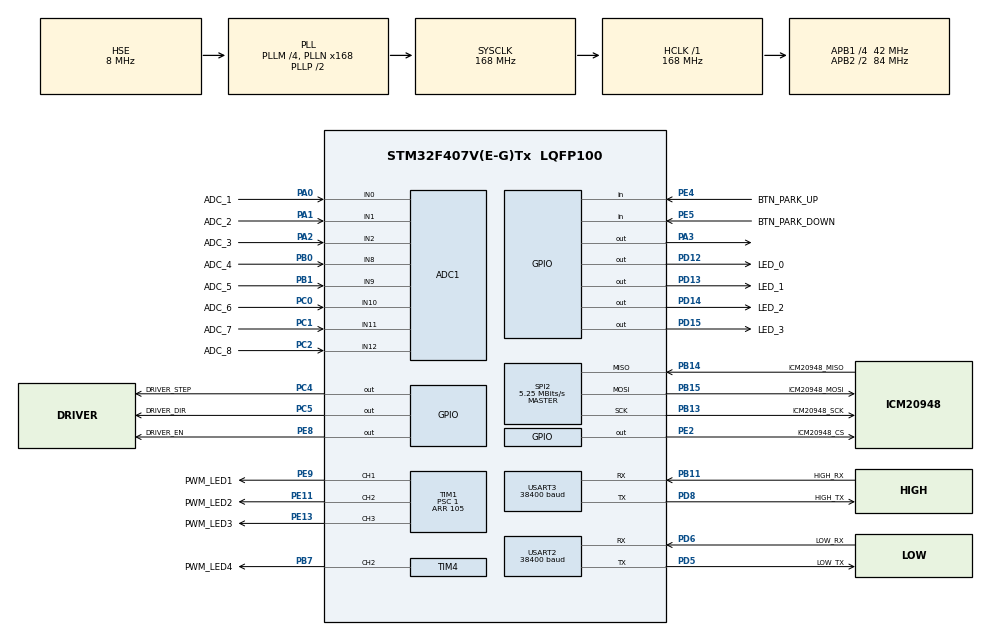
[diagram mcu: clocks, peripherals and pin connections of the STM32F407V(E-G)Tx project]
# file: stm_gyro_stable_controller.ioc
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ADC1.Channel-1\#ChannelRegularConversion=ADC_CHANNEL_8
ADC1.NbrOfConversionFlag=1
ADC1.Rank-1\#ChannelRegularConversion=1
ADC1.SamplingTime-1\#ChannelRegularConversion=ADC_SAMPLETIME_3CYCLES
ADC1.master=1
Dma.Request0=USART2_RX
Dma.Request1=USART2_TX
Dma.Request2=USART3_RX
Dma.Request3=USART3_TX
Dma.Request4=TIM1_CH2
Dma.Request5=TIM1_CH1
Dma.Request6=TIM1_CH3
Dma.Request7=TIM4_CH2
Dma.TIM1_CH1.5.Direction=DMA_MEMORY_TO_PERIPH
Dma.TIM1_CH1.5.FIFOMode=DMA_FIFOMODE_DISABLE
Dma.TIM1_CH1.5.Instance=DMA2_Stream1
Dma.TIM1_CH1.5.MemDataAlignment=DMA_MDATAALIGN_WORD
Dma.TIM1_CH1.5.MemInc=DMA_MINC_ENABLE
Dma.TIM1_CH1.5.Mode=DMA_CIRCULAR
Dma.TIM1_CH1.5.PeriphDataAlignment=DMA_PDATAALIGN_WORD
Dma.TIM1_CH1.5.PeriphInc=DMA_PINC_DISABLE
Dma.TIM1_CH1.5.Priority=DMA_PRIORITY_LOW
Dma.TIM1_CH2.4.Direction=DMA_MEMORY_TO_PERIPH
Dma.TIM1_CH2.4.FIFOMode=DMA_FIFOMODE_DISABLE
Dma.TIM1_CH2.4.Instance=DMA2_Stream2
Dma.TIM1_CH2.4.MemDataAlignment=DMA_MDATAALIGN_WORD
Dma.TIM1_CH2.4.MemInc=DMA_MINC_ENABLE
Dma.TIM1_CH2.4.Mode=DMA_CIRCULAR
Dma.TIM1_CH2.4.PeriphDataAlignment=DMA_PDATAALIGN_WORD
Dma.TIM1_CH2.4.PeriphInc=DMA_PINC_DISABLE
Dma.TIM1_CH2.4.Priority=DMA_PRIORITY_LOW
Dma.TIM1_CH3.6.Direction=DMA_MEMORY_TO_PERIPH
Dma.TIM1_CH3.6.FIFOMode=DMA_FIFOMODE_DISABLE
Dma.TIM1_CH3.6.Instance=DMA2_Stream6
Dma.TIM1_CH3.6.MemDataAlignment=DMA_MDATAALIGN_WORD
Dma.TIM1_CH3.6.MemInc=DMA_MINC_ENABLE
Dma.TIM1_CH3.6.Mode=DMA_CIRCULAR
Dma.TIM1_CH3.6.PeriphDataAlignment=DMA_PDATAALIGN_WORD
Dma.TIM1_CH3.6.PeriphInc=DMA_PINC_DISABLE
Dma.TIM1_CH3.6.Priority=DMA_PRIORITY_LOW
Dma.TIM4_CH2.7.Direction=DMA_MEMORY_TO_PERIPH
Dma.TIM4_CH2.7.FIFOMode=DMA_FIFOMODE_DISABLE
Dma.TIM4_CH2.7.Instance=DMA1_Stream3
Dma.TIM4_CH2.7.MemDataAlignment=DMA_MDATAALIGN_WORD
Dma.TIM4_CH2.7.MemInc=DMA_MINC_ENABLE
Dma.TIM4_CH2.7.Mode=DMA_CIRCULAR
Dma.TIM4_CH2.7.PeriphDataAlignment=DMA_PDATAALIGN_WORD
Dma.TIM4_CH2.7.PeriphInc=DMA_PINC_DISABLE
Dma.TIM4_CH2.7.Priority=DMA_PRIORITY_LOW
Dma.USART2_RX.0.Direction=DMA_PERIPH_TO_MEMORY
Dma.USART2_RX.0.FIFOMode=DMA_FIFOMODE_DISABLE
Dma.USART2_RX.0.Instance=DMA1_Stream5
Dma.USART2_RX.0.MemDataAlignment=DMA_MDATAALIGN_BYTE
Dma.USART2_RX.0.MemInc=DMA_MINC_ENABLE
Dma.USART2_RX.0.Mode=DMA_NORMAL
Dma.USART2_RX.0.PeriphDataAlignment=DMA_PDATAALIGN_BYTE
Dma.USART2_RX.0.PeriphInc=DMA_PINC_DISABLE
Dma.USART2_RX.0.Priority=DMA_PRIORITY_HIGH
Dma.USART2_TX.1.Direction=DMA_MEMORY_TO_PERIPH
Dma.USART2_TX.1.FIFOMode=DMA_FIFOMODE_DISABLE
Dma.USART2_TX.1.Instance=DMA1_Stream6
Dma.USART2_TX.1.MemDataAlignment=DMA_MDATAALIGN_BYTE
Dma.USART2_TX.1.MemInc=DMA_MINC_ENABLE
Dma.USART2_TX.1.Mode=DMA_NORMAL
Dma.USART2_TX.1.PeriphDataAlignment=DMA_PDATAALIGN_BYTE
Dma.USART2_TX.1.PeriphInc=DMA_PINC_DISABLE
Dma.USART2_TX.1.Priority=DMA_PRIORITY_HIGH
Dma.USART3_RX.2.Direction=DMA_PERIPH_TO_MEMORY
Dma.USART3_RX.2.FIFOMode=DMA_FIFOMODE_DISABLE
Dma.USART3_RX.2.Instance=DMA1_Stream1
Dma.USART3_RX.2.MemDataAlignment=DMA_MDATAALIGN_BYTE
Dma.USART3_RX.2.MemInc=DMA_MINC_ENABLE
Dma.USART3_RX.2.Mode=DMA_NORMAL
Dma.USART3_RX.2.PeriphDataAlignment=DMA_PDATAALIGN_BYTE
Dma.USART3_RX.2.PeriphInc=DMA_PINC_DISABLE
Dma.USART3_RX.2.Priority=DMA_PRIORITY_LOW
Dma.USART3_TX.3.Direction=DMA_MEMORY_TO_PERIPH
Dma.USART3_TX.3.FIFOMode=DMA_FIFOMODE_DISABLE
Dma.USART3_TX.3.Instance=DMA1_Stream4
Dma.USART3_TX.3.MemDataAlignment=DMA_MDATAALIGN_BYTE
Dma.USART3_TX.3.MemInc=DMA_MINC_ENABLE
Dma.USART3_TX.3.Mode=DMA_NORMAL
Dma.USART3_TX.3.PeriphDataAlignment=DMA_PDATAALIGN_BYTE
Dma.USART3_TX.3.PeriphInc=DMA_PINC_DISABLE
Dma.USART3_TX.3.Priority=DMA_PRIORITY_LOW
Mcu.Family=STM32F4
Mcu.Name=STM32F407V(E-G)Tx
Mcu.Package=LQFP100
NVIC.DMA1_Stream1_IRQn=true\:0\:0\:false\:false\:true\:false\:true
NVIC.DMA1_Stream3_IRQn=true\:0\:0\:false\:false\:true\:false\:true
NVIC.DMA1_Stream4_IRQn=true\:0\:0\:false\:false\:true\:false\:true
NVIC.DMA1_Stream5_IRQn=true\:0\:0\:false\:false\:true\:false\:true
NVIC.DMA1_Stream6_IRQn=true\:0\:0\:false\:false\:true\:false\:true
NVIC.DMA2_Stream1_IRQn=true\:0\:0\:false\:false\:true\:false\:true
NVIC.DMA2_Stream2_IRQn=true\:0\:0\:false\:false\:true\:false\:true
NVIC.DMA2_Stream6_IRQn=true\:0\:0\:false\:false\:true\:false\:true
NVIC.PriorityGroup=NVIC_PRIORITYGROUP_4
NVIC.USART2_IRQn=true\:0\:0\:false\:false\:true\:true\:true
NVIC.USART3_IRQn=true\:0\:0\:false\:false\:true\:true\:true
PA0-WKUP.GPIO_Label=ADC_1
PA0-WKUP.Signal=ADCx_IN0
PA1.GPIO_Label=ADC_2
PA1.Signal=ADCx_IN1
PA13.Mode=Serial_Wire
PA13.Signal=SYS_JTMS-SWDIO
PA14.Mode=Serial_Wire
PA14.Signal=SYS_JTCK-SWCLK
PA2.GPIO_Label=ADC_3
PA2.Signal=ADCx_IN2
PA3.Signal=GPIO_Output
PB0.GPIO_Label=ADC_4
PB0.Signal=ADCx_IN8
PB1.GPIO_Label=ADC_5
PB1.Signal=ADCx_IN9
PB11.GPIO_Label=HIGH_RX
PB11.Mode=Asynchronous
PB11.Signal=USART3_RX
PB13.GPIO_Label=ICM20948_SCK
PB13.Mode=Full_Duplex_Master
PB13.Signal=SPI2_SCK
PB14.GPIO_Label=ICM20948_MISO
PB14.Mode=Full_Duplex_Master
PB14.Signal=SPI2_MISO
PB15.GPIO_Label=ICM20948_MOSI
PB15.Mode=Full_Duplex_Master
PB15.Signal=SPI2_MOSI
PB7.GPIO_Label=PWM_LED4
PB7.Signal=S_TIM4_CH2
PC0.GPIO_Label=ADC_6
PC0.Signal=ADCx_IN10
PC1.GPIO_Label=ADC_7
PC1.Signal=ADCx_IN11
PC14-OSC32_IN.Mode=LSE-External-Oscillator
PC14-OSC32_IN.Signal=RCC_OSC32_IN
PC15-OSC32_OUT.Mode=LSE-External-Oscillator
PC15-OSC32_OUT.Signal=RCC_OSC32_OUT
PC2.GPIO_Label=ADC_8
PC2.Signal=ADCx_IN12
PC4.GPIO_Label=DRIVER_STEP
PC4.Signal=GPIO_Output
PC5.GPIO_Label=DRIVER_DIR
PC5.Signal=GPIO_Output
PD12.GPIO_Label=LED_0
PD12.Signal=GPIO_Output
PD13.GPIO_Label=LED_1
PD13.Signal=GPIO_Output
PD14.GPIO_Label=LED_2
PD14.Signal=GPIO_Output
PD15.GPIO_Label=LED_3
PD15.Signal=GPIO_Output
PD5.GPIO_Label=LOW_TX
PD5.Mode=Asynchronous
PD5.Signal=USART2_TX
PD6.GPIO_Label=LOW_RX
PD6.Mode=Asynchronous
PD6.Signal=USART2_RX
PD8.GPIO_Label=HIGH_TX
PD8.Mode=Asynchronous
PD8.Signal=USART3_TX
PE11.GPIO_Label=PWM_LED2
PE11.Signal=S_TIM1_CH2
PE13.GPIO_Label=PWM_LED3
PE13.Signal=S_TIM1_CH3
PE2.GPIO_Label=ICM20948_CS
PE2.Signal=GPIO_Output
PE4.GPIO_Label=BTN_PARK_UP
PE4.GPIO_PuPd=GPIO_PULLDOWN
PE4.Signal=GPIO_Input
PE5.GPIO_Label=BTN_PARK_DOWN
PE5.GPIO_PuPd=GPIO_PULLDOWN
PE5.Signal=GPIO_Input
PE8.GPIO_Label=DRIVER_EN
PE8.GPIO_PuPd=GPIO_NOPULL
PE8.Signal=GPIO_Output
PE9.GPIO_Label=PWM_LED1
PE9.Signal=S_TIM1_CH1
PH0-OSC_IN.Mode=HSE-External-Oscillator
PH0-OSC_IN.Signal=RCC_OSC_IN
PH1-OSC_OUT.Mode=HSE-External-Oscillator
PH1-OSC_OUT.Signal=RCC_OSC_OUT
ProjectManager.HeapSize=0x200
ProjectManager.StackSize=0x400
ProjectManager.TargetToolchain=STM32CubeIDE
RCC.48MHZClocksFreq_Value=84000000
RCC.AHBFreq_Value=168000000
RCC.APB1CLKDivider=RCC_HCLK_DIV4
RCC.APB1Freq_Value=42000000
RCC.APB1TimFreq_Value=84000000
RCC.APB2CLKDivider=RCC_HCLK_DIV2
RCC.APB2Freq_Value=84000000
RCC.APB2TimFreq_Value=168000000
RCC.CortexFreq_Value=168000000
RCC.HCLKFreq_Value=168000000
RCC.HSE_VALUE=8000000
RCC.HSI_VALUE=16000000
RCC.PLLM=4
RCC.PLLN=168
RCC.PLLSourceVirtual=RCC_PLLSOURCE_HSE
RCC.SYSCLKFreq_VALUE=168000000
RCC.SYSCLKSource=RCC_SYSCLKSOURCE_PLLCLK
RCC.VCOOutputFreq_Value=336000000
SH.ADCx_IN0.0=ADC1_IN0,IN0
SH.ADCx_IN1.0=ADC1_IN1,IN1
SH.ADCx_IN10.0=ADC1_IN10,IN10
SH.ADCx_IN11.0=ADC1_IN11,IN11
SH.ADCx_IN12.0=ADC1_IN12,IN12
SH.ADCx_IN2.0=ADC1_IN2,IN2
SH.ADCx_IN8.0=ADC1_IN8,IN8
SH.ADCx_IN9.0=ADC1_IN9,IN9
SH.S_TIM1_CH1.0=TIM1_CH1,PWM Generation1 CH1
SH.S_TIM1_CH2.0=TIM1_CH2,PWM Generation2 CH2
SH.S_TIM1_CH3.0=TIM1_CH3,PWM Generation3 CH3
SH.S_TIM4_CH2.0=TIM4_CH2,PWM Generation2 CH2
SPI2.BaudRatePrescaler=SPI_BAUDRATEPRESCALER_8
SPI2.CLKPhase=SPI_PHASE_2EDGE
SPI2.CLKPolarity=SPI_POLARITY_HIGH
SPI2.CalculateBaudRate=5.25 MBits/s
SPI2.Direction=SPI_DIRECTION_2LINES
SPI2.Mode=SPI_MODE_MASTER
SPI2.VirtualType=VM_MASTER
TIM1.Channel-PWM\ Generation1\ CH1=TIM_CHANNEL_1
TIM1.Channel-PWM\ Generation2\ CH2=TIM_CHANNEL_2
TIM1.Channel-PWM\ Generation3\ CH3=TIM_CHANNEL_3
TIM1.Period=105
TIM1.Prescaler=1
TIM4.Channel-PWM\ Generation2\ CH2=TIM_CHANNEL_2
TIM4.Period=105
TIM8.Prescaler=167
USART2.BaudRate=38400
USART2.VirtualMode=VM_ASYNC
USART3.BaudRate=38400
USART3.VirtualMode=VM_ASYNC
VP_TIM1_VS_ClockSourceINT.Mode=Internal
VP_TIM4_VS_ClockSourceINT.Mode=Internal
VP_TIM8_VS_ClockSourceINT.Mode=Internal
board=custom

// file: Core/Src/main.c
/* USER CODE BEGIN Header */
/**
  ******************************************************************************
  * @file           : main.c
  * @brief          : Main program body
  ******************************************************************************
  * @attention
  *
  * 					<h2><center>RTK-WOLVES</center></h2>
  *
  *
  * 								Created by
  * 						@Lord_tachanka @th3d0l0rh3z3
  *                        			  AT 2021
  *
  ******************************************************************************
  */
/* USER CODE END Header */
#include "main.h"
#include "adc.h"
#include "dma.h"
#include "spi.h"
#include "tim.h"
#include "usart.h"
#include "gpio.h"

/* USER CODE BEGIN Includes */
#include "icm20948.h"	// Драйвер для гироскопа (самопис.)
#include "Fusion.h"		// Библиотека преобразований данных гироскопа (самопис.)
#include "stdlib.h"
/* USER CODE END Includes */

/* USER CODE BEGIN PTD */
#pragma pack(push, 1)
#define WHEELS_REQUEST_SIZE 16 				// Размер пакета
union {
    struct
    {
        uint8_t ControlMode;				// 1 - Режим управления(не используется)
        uint8_t ParameterNumber;			// 1 - Номер параметра(не используется)
        float ParameterValue;				// 4 - Значение параметра(не используется)
        float WheelLeft;					// 4 - Ш�?М левое колесо, от -1 до 1
        float WheelRight;					// 4 - Ш�?М правое колесо, от -1 до 1
        uint8_t CR;							// 1 - Байт синхронизации
        uint8_t LF;							// 1 - Байт синхронизации
    };
    uint8_t Buffer[WHEELS_REQUEST_SIZE];	// Буффер байт
} SerialControlWheelsRequest;				// Пакет для отправки на плату гироскутера

#define WHEELS_RESPONCE_SIZE 16				// Размер пакета
union {
    struct
    {
        uint8_t State;						// 1 - Код статуса
        uint8_t ParameterNumber;			// 1 - Номер параметра
        float ParameterValue;				// 4 - Значение параметра
        int32_t WheelLeftSteps;				// 4 - Положение по датчикам холла, левое колесо
        int32_t WheelRightSteps;			// 4 - Положение по датчикам холла, правое колесо
        uint8_t CR;							// 1 - Байт синхронизации
        uint8_t LF;							// 1 - Байт синхронизации
    };
    uint8_t Buffer[WHEELS_RESPONCE_SIZE];	// Буффер байт
} SerialControlWheelsResponce;				// Пакет приема ответного сообщения с платы гироскутера

#define HIGH_LEVEL_REQUEST_SIZE 16				// Размер пакета
union {
	struct
	{
		float Linear;			 				// 4 - Линейная скорость
		float Angular;							// 4 - Угловая скорость
		int8_t DriveMode;						// 1 - Режим движения
		uint8_t ParameterNumber;				// 1 - �?ндекс параметров
		float ParametrValue;					// 4 - Значние параметра
		uint8_t CR;								// 1 - Байт синхронизации
		uint8_t LF;								// 1 - Байт синхронизации
	};
	uint8_t Buffer[HIGH_LEVEL_REQUEST_SIZE];	// Буффер байт
} SerialHighLevelRequest;						// Принимаемый пакет от вычислителя вехнего уровня

#define HIGH_LEVEL_RESPONCE_SIZE 25				// Размер пакета
union {
	struct
	{
		int8_t ControllerState;					// 1 - Статусное состояние контроллера
		int32_t WheelLeftSteps;					// 4 - Показания датчика холла, левый
		int32_t WheelRightSteps;				// 4 - Показания датчика холла, правый
		uint8_t BatteryPersentage;				// 1 - Процент заряда батареи
		int16_t Roll;							// 2 - Крен (AHRS)
		int16_t Pitch;							// 2 - Тангаж (AHRS)
		int16_t Yaw;							// 2 - Рысканье (AHRS)
		uint16_t CenterIkSensor;				// 2 - Показания �?К-дальномера
		uint8_t ParameterNumber;				// 1 - �?ндекс параметров
		float ParametrValue;					// 4 - Номер параметра
		uint8_t CR;								// 1 - Байт синхронизации
		uint8_t LF;								// 1 - Байт синхронизации
	};
	uint8_t Buffer[HIGH_LEVEL_RESPONCE_SIZE];	// Буфер байт
}SerialHighLevelResponce;						// Отправляемый в ответ пакет
#pragma pack(pop)

typedef struct
{
	int32_t LastHall;
	int32_t OutputHall;
} HallFilter;

typedef struct
{
	float Voltage;
	float Battery;
	float CurrentLeft;
	float CurrentRight;
	float RPSLeft;
	float RPSRight;
	float OverCurrCount;
	float ConnErrCount;
	float CommTime;
} LowUartData;

typedef struct
{
	uint16_t* Raw;
	uint16_t* Sensors;
	float* Amperage;
} ADCData;

typedef struct
{
	float Front;
	float Turn;
	float Drive;
} InputControl;

/* USER CODE END PTD */

/* USER CODE BEGIN PD */

//#define SYSTEM_NO_ADC_INIT
//#define SYSTEM_NO_IMU_HW_INIT

//#define SYSTEM_NO_LOW_UART_LOOP
//#define SYSTEM_NO_HIGH_UART_LOOP
//#define SYSTEM_NO_GPIO_LOOP
//#define SYSTEM_NO_ADC_LOOP

//#define DEBUG_NO_ADC_ALL
//#define DEBUG_NO_ADC_RAW
//#define DEBUG_NO_ADC_SEN
//#define DEBUG_NO_ADC_AMP

#define SYSTEM_HARDWARE_UART_LOW (&huart2)
#define SYSTEM_HARDWARE_UART_LOW_INSTANSE USART2
#define SYSTEM_HARDWARE_UART_HIGH (&huart3)
#define SYSTEM_HARDWARE_UART_HIGH_INSTANSE USART3
#define SYSTEM_HARDWARE_PARKING_LEG_UP_PORT GPIOE
#define SYSTEM_HARDWARE_PARKING_LEG_UP_PIN GPIO_PIN_5
#define SYSTEM_HARDWARE_PARKING_LEG_DOWN_PORT GPIOE
#define SYSTEM_HARDWARE_PARKING_LEG_DOWN_PIN GPIO_PIN_4
#define SYSTEM_HARDWARE_ADC (&hadc1)
#define SYSTEM_HARDWARE_ADC_IK_FL ADC_CHANNEL_11
#define SYSTEM_HARDWARE_ADC_IK_FR ADC_CHANNEL_12
#define SYSTEM_HARDWARE_ADC_IK_BL ADC_CHANNEL_1
#define SYSTEM_HARDWARE_ADC_IK_BR ADC_CHANNEL_10
#define SYSTEM_HARDWARE_ADC_IK_CN ADC_CHANNEL_2
#define SYSTEM_HARDWARE_ADC_AMP_36 ADC_CHANNEL_9
#define SYSTEM_HARDWARE_ADC_AMP_12 ADC_CHANNEL_8
#define SYSTEM_HARDWARE_ADC_AMP_5 ADC_CHANNEL_0
#define SYSTEM_HARDWARE_ADC_Channel_Count 8
#define SYSTEM_HARDWARE_STEPPER_MOTOR_STEP_PORT GPIOC
#define SYSTEM_HARDWARE_STEPPER_MOTOR_STEP_PIN GPIO_PIN_4
#define SYSTEM_HARDWARE_STEPPER_MOTOR_DIR_PORT GPIOC
#define SYSTEM_HARDWARE_STEPPER_MOTOR_DIR_PIN GPIO_PIN_5
#define SYSTEM_HARDWARE_STEPPER_MOTOR_EN_PORT GPIOE
#define SYSTEM_HARDWARE_STEPPER_MOTOR_EN_PIN GPIO_PIN_8

#define SYSTEM_TIMING_MS_UART_LOW 100
#define SYSTEM_TIMING_MS_UART_HIGH 100
#define SYSTEM_TIMING_MS_GPIO 100
#define SYSTEM_TIMING_MS_ADC 10
#define SYSTEM_TIMING_MS_IMU 10
#define SYSTEM_TIMING_MS_LOGIC 10

#define SYSTEM_HALL_FILTER_MAX 1000
#define SYSTEM_IMU_ACCEL_FILTER 0.1
#define SYSTEM_IMU_GYRO_FILTER 0.1
#define SYSTEM_IMU_MAG_FILTER 0.1

#define BALANCE_SPEED_STEPS_MAX_TIME 0.2
#define BALANCE_STEPS_TO_METERS 0.0088495575221239
#define BALANCE_PLATFORM_Y_MAX 5
#define BALANCE_DUTY_MAX_ANGULAR 0.1
#define BALANCE_DUTY_MAX_LINEAR 0.2
/*
#define SYSTEM_HARDWARE_PWM_CH1_PORT (&htim1)
#define SYSTEM_HARDWARE_PWM_CH1_CH TIM_CHANNEL_1
#define SYSTEM_HARDWARE_PWM_CH2_PORT (&htim1)
#define SYSTEM_HARDWARE_PWM_CH2_CH TIM_CHANNEL_2
#define SYSTEM_HARDWARE_PWM_CH3_PORT (&htim1)
#define SYSTEM_HARDWARE_PWM_CH3_CH TIM_CHANNEL_3
#define SYSTEM_HARDWARE_PWM_CH4_PORT (&htim4)
#define SYSTEM_HARDWARE_PWM_CH4_CH TIM_CHANNEL_2
#define SYSTEM_HARDWARE_LED1_PORT GPIOD
#define SYSTEM_HARDWARE_LED1_PIN GPIO_PIN_12
#define SYSTEM_HARDWARE_LED2_PORT GPIOD
#define SYSTEM_HARDWARE_LED2_PIN GPIO_PIN_13
#define SYSTEM_HARDWARE_LED3_PORT GPIOD
#define SYSTEM_HARDWARE_LED3_PIN GPIO_PIN_14
#define SYSTEM_HARDWARE_LED4_PORT GPIOD
#define SYSTEM_HARDWARE_LED4_PIN GPIO_PIN_15

#define SYSTEM_STATE_INIT 0

#define SYSTEM_DELAY_MS_HIGH_UART 100
#define SYSTEM_DELAY_MS_LOW_UART 100

#define WS2812_DELAY_LEN 48
*/
#define DELAY_LEN 48
#define LED_COUNT 27
#define HIGH 65
#define LOW 26
#define ARRAY_LEN DELAY_LEN+LED_COUNT*24
#define BitIsSet(reg, bit) ((reg & (1<<bit))!=0)
#define MAX_BRIGHTNESS 50
uint32_t BUF_DMA[ARRAY_LEN]={0};

uint16_t MAX_LIGHT = 128;
/*

#define MOTHERBOARD_DIFF 100

#define PARKING_SPEED_DRIVE 15
#define PARKING_SPEED_PARKING 20;

#define PARKING_MAX 1000

#define SPEED_STEPS_MAX_TIME 0.2

#define ADC_CH_COUNT 8
#define STEPPER_DRIVE_MAX 3200
*/
/* USER CODE END PD */

/* USER CODE BEGIN PV */

uint32_t LastPkgTimeUartLow = 0;
uint32_t LastPkgTimeUartHigh = 0;
volatile uint8_t UartLowReceiveState = 0; // 0 - by default; 1 - trouble by CR/LF; 10 - pkg good
volatile uint8_t UartHighReceiveState = 0; // 0 - by default; 1 - trouble by CR/LF; 10 - pkg good
uint8_t* LostByte;
HallFilter WheelsHall[2];
uint8_t InitionHall = 0;
LowUartData LowDiagnostic;

uint8_t FootButtonUp = 0;
uint8_t FootButtonDown = 0;

uint32_t LastUpdateGPIO = 0;
uint32_t LastUpdateADC = 0;
uint32_t LastUpdateIMU = 0;
uint32_t LastUpdateLogic = 0;
uint32_t LastUpdateLed = 0;

ADCData AdcModule;

axises ResGyro;
axises ResAccel;
axises ResMag;
FusionBias fusionBias;
FusionAhrs fusionAhrs;
float samplePeriod = 0.01f;
FusionVector3 gyroscopeSensitivity;
FusionVector3 accelerometerSensitivity;
FusionVector3 hardIronBias;
FusionVector3 uncalibratedGyroscope;
FusionVector3 uncalibratedAccelerometer;
FusionVector3 uncalibratedMagnetometer;
FusionEulerAngles eulerAngles;

InputControl BTControl;

uint8_t FootDone = 0;

// balance ===========
uint8_t BalanceActive;
float PositionLinearDemand;
// Prepare
float Front = 0;
float Turn = 0;
float SpeedLinear;
float LeftSpeed;
float RightSpeed;
uint8_t BalanceActiveDemand;
// CalcSpeeds
float TimeS;
unsigned long StepsLeftPreviousTime;
unsigned long StepsRightPreviousTime;
int32_t StepsLeftPrevious;
int32_t StepsRightPrevious;
float SpeedLinear;
float SpeedLinearDemand;
float PositionLinear;
//PosControl
uint8_t PositionLinearControlSwitch;
float PositionIValue;
float PositionI = 0.0;
float PositionP = 0.6;
float PositionPID;
uint32_t linearTime = 0;
float linearDeltaTimePrev = 0;
float linearIntegral = 0;
int linearIntegralerrorCoun = 0;
float linearLastError = 0;
float linearFcutDiff = 40.0f;
float linearSmoothDiff = 0;
float minLinearValue = 0.05;
float SpeedPID;
float SpeedPNew = 9;
float SpeedINew = 1.5;
float SpeedDNew = 0.7;
float PlatformYDemand = 0;
float SpeedFilter = 0.015;
float AngleCorrection = 3;
float BalanceP = 100;
float BalanceD = 15000;
float BalanceFilter = 0.99;
float BalancePID;
float GyroY;
float GyroYPrevious;
float GyroYSpeed;
float GyroZPrevious;
float GyroZSpeed;
float DutyFront;
float DutyTurn;
float ParkingAngle;
float ResultLeft;
float ResultRight;
float PositionAngularDemand;
float RotationPID;
float RotationP = 0.004;
float RotationI = 0;
float RotationD = 0.01;

float ManualDrive = 0;

//debug
#ifndef DEBUG_NO_ADC_ALL
#ifndef DEBUG_NO_ADC_RAW
uint16_t DebugADCRawFL;
uint16_t DebugADCRawFR;
uint16_t DebugADCRawBL;
uint16_t DebugADCRawBR;
uint16_t DebugADCRawCN;
uint16_t DebugADCRaw36;
uint16_t DebugADCRaw12;
uint16_t DebugADCRaw5;
#endif
#ifndef DEBUG_NO_ADC_SEN
uint16_t DebugADCSenFL;
uint16_t DebugADCSenFR;
uint16_t DebugADCSenBL;
uint16_t DebugADCSenBR;
uint16_t DebugADCSenCN;
#endif
#ifndef DEBUG_NO_ADC_AMP
float DebugADCAmp36;
float DebugADCAmp12;
float DebugADCAmp5;
#endif
#endif

axises DebugAccRaw;
axises DebugGyroRaw;
float DebugFilterAcc = 0.3;
float DebugScallerAcc = 1000;
float DebugFilterGyro = 0.4;
float DebugScallerGyro = 1000;
/*

float LeftSpeed;
float RightSpeed;

float linearIntegral = 0;

float linearFcutDiff = 40.0f;
float linearSmoothDiff = 0;

int linearIntegralerrorCoun = 0;

uint32_t CurrentStepPark = 0;

uint8_t PositionLinearControlSwitch;
uint8_t BalanceActive;
int16_t ParkingPersentage;
uint8_t FootAngleDemand;
uint8_t FootDrive;
uint8_t FootParking;

uint32_t PackageLastTimeReset_Motherboard;
uint32_t PackageLastTimeReset_OnBoardPC;
uint32_t LastUpdateIMU;
uint32_t LastUpdateLogic;
uint32_t LastUpdateADC;
uint32_t LastUpdateServo;
uint32_t LastUpdateLed;

int ControlCommandTimeoutMS = 2000;

uint8_t InititionHall = 0;
float HallLeftStepPast = 0;
float HallRightStepPast = 0;
float HallLeftStep;
float HallRightStep;

uint8_t ParameterNumber;

uint8_t BalanceActiveDemand;
uint8_t BTBalanceActive;

uint8_t debug_driver_en = 0;
uint8_t debug_direction = 0;
uint32_t debug_steps = 10;
uint32_t debug_period = 1600;
*/
/* USER CODE END PV */

void SystemClock_Config(void);
/* USER CODE BEGIN PFP */
void UartLowPrepareRaw(uint16_t Difference, int32_t* InputHall, uint8_t Count);
int HallActualize(int32_t NewStep, int32_t LastStep, int32_t Difference);
void GPIOUpdate();
float Interpolation(float Value, float Min, float Max);
void ADCInit();
void ADCUpdate();
void ADCPrepare();
uint16_t ReadAdcChanel(uint8_t Channel);
void SerialLowControlLoop();
void ImuAccelUpdate();
void ImuGyroUpdate();
void ImuMagUpdate();
void ImuInit();
void ImuUpdate();
void StepControl(uint8_t dir, uint32_t period, uint32_t steps);
void MotopStop();
void BalancePrepare();
void BalanceCalculateSpeeds();
void BalancePositionLinearControl();
void BalanceSpeedLinearControl();
void BalancePositionAngularControl();
void BalanceLoop();
void BalanceResultLoop();
void DelayUs(uint16_t);
/* USER CODE END PFP */

/* USER CODE BEGIN 0 */

void HAL_UART_RxCpltCallback(UART_HandleTypeDef *UartHandle)
{
	HAL_StatusTypeDef Res;

	if (UartHandle->Instance == SYSTEM_HARDWARE_UART_HIGH_INSTANSE)
	{
		if (UartHighReceiveState == 0)
		{
			if ((SerialHighLevelRequest.CR != 13) || (SerialHighLevelRequest.LF != 10))
			{
				Res = HAL_UART_Receive_DMA(SYSTEM_HARDWARE_UART_HIGH, LostByte, 1);
				UartHighReceiveState = 1;
			}
			else
			{
				UartHighReceiveState = 10;
				Res = HAL_UART_Receive_DMA(SYSTEM_HARDWARE_UART_HIGH, (uint8_t*)SerialHighLevelRequest.Buffer, HIGH_LEVEL_REQUEST_SIZE);
			}
		}
		else
		{
			if(UartHighReceiveState == 1)
			{
				if (LostByte[0] == 13)
				{
					UartHighReceiveState = 2;
				}
				Res = HAL_UART_Receive_DMA(SYSTEM_HARDWARE_UART_HIGH, (uint8_t*)LostByte, 1);
			}
			else
			{
				if (UartHighReceiveState == 2)
				{
					if (LostByte[0] == 10)
					{
						UartHighReceiveState = 0;
						Res = HAL_UART_Receive_DMA(SYSTEM_HARDWARE_UART_HIGH, (uint8_t*)SerialHighLevelRequest.Buffer, HIGH_LEVEL_REQUEST_SIZE);
					}
					else
					{
						UartHighReceiveState = 1;
						Res = HAL_UART_Receive_DMA(SYSTEM_HARDWARE_UART_HIGH, (uint8_t*)LostByte, 1);
					}
				}
			}
		}
		if (Res != HAL_OK)
		{
			MX_USART3_UART_Init();
			UartHighReceiveState = 0;
			Res = HAL_UART_Receive_DMA(SYSTEM_HARDWARE_UART_HIGH, (uint8_t*)SerialHighLevelRequest.Buffer, HIGH_LEVEL_REQUEST_SIZE);
		}
	}

	if (UartHandle->Instance == SYSTEM_HARDWARE_UART_LOW_INSTANSE)
	{
		if (UartLowReceiveState == 0)
		{
			if ((SerialControlWheelsResponce.CR != 13) || (SerialControlWheelsResponce.LF != 10))
			{
				Res = HAL_UART_Receive_DMA(SYSTEM_HARDWARE_UART_LOW, LostByte, 1);
				UartLowReceiveState = 1;
			}
			else
			{
				UartLowReceiveState = 10;
				Res = HAL_UART_Receive_DMA(SYSTEM_HARDWARE_UART_LOW, (uint8_t*)SerialControlWheelsResponce.Buffer, WHEELS_RESPONCE_SIZE);
			}
		}
		else
		{
			if(UartLowReceiveState == 1)
			{
				if (LostByte[0] == 13)
				{
					UartLowReceiveState = 2;
				}
				Res = HAL_UART_Receive_DMA(SYSTEM_HARDWARE_UART_LOW, (uint8_t*)LostByte, 1);
			}
			else
			{
				if (UartLowReceiveState == 2)
				{
					if (LostByte[0] == 10)
					{
						UartLowReceiveState = 0;
						Res = HAL_UART_Receive_DMA(SYSTEM_HARDWARE_UART_LOW, (uint8_t*)SerialControlWheelsResponce.Buffer, WHEELS_RESPONCE_SIZE);
					}
					else
					{
						UartLowReceiveState = 1;
						Res = HAL_UART_Receive_DMA(SYSTEM_HARDWARE_UART_LOW, (uint8_t*)LostByte, 1);
					}
				}
			}
		}

		if (Res != HAL_OK)
		{
			MX_USART2_UART_Init();
			UartLowReceiveState = 0;
			Res = HAL_UART_Receive_DMA(SYSTEM_HARDWARE_UART_LOW, (uint8_t*)SerialControlWheelsResponce.Buffer, WHEELS_RESPONCE_SIZE);
		}
	}
}
void UartLowPrepareRaw(uint16_t Difference, int32_t* InputHall, uint8_t Count)
{
	if(InitionHall == 0)
	{
		for(int i = 0; i < Count; i++)
		{
			WheelsHall[i].LastHall = InputHall[i];
		}
		InitionHall = 1;
	}
	for (int i = 0; i < Count; i++)
	{
		if (HallActualize(InputHall[i], WheelsHall[i].LastHall, Difference))
		{
			WheelsHall[i].OutputHall = InputHall[i];
			WheelsHall[i].LastHall = InputHall[i];
		}
		if (!HallActualize(InputHall[i], WheelsHall[i].LastHall, Difference))
		{
			WheelsHall[i].LastHall = InputHall[i];
		}
	}

	switch (SerialControlWheelsResponce.ParameterNumber)
	{
		case 0:
			LowDiagnostic.Voltage = SerialControlWheelsResponce.ParameterValue;
			LowDiagnostic.Battery += ((Interpolation(LowDiagnostic.Voltage, 28, 41) * 100.0) - LowDiagnostic.Battery) * 0.01;
		  	break;
		case 1:
			LowDiagnostic.CurrentLeft = SerialControlWheelsResponce.ParameterValue;
			break;
		case 2:
			LowDiagnostic.CurrentRight = SerialControlWheelsResponce.ParameterValue;
			break;
		case 3:
			LowDiagnostic.RPSLeft = SerialControlWheelsResponce.ParameterValue;
			break;
		case 4:
			LowDiagnostic.RPSRight = SerialControlWheelsResponce.ParameterValue;
			break;
		case 5:
			LowDiagnostic.OverCurrCount = SerialControlWheelsResponce.ParameterValue;
			break;
		case 6:
			LowDiagnostic.ConnErrCount = SerialControlWheelsResponce.ParameterValue;
			break;
		case 7:
			LowDiagnostic.CommTime = SerialControlWheelsResponce.ParameterValue;
		  	break;
	}
}
int HallActualize(int32_t NewStep, int32_t LastStep, int32_t Difference)
{
	int32_t CalcDiff = abs(LastStep - NewStep);
	if (CalcDiff <= Difference)
	{
		return 1;
	}
	return 0;
}
void GPIOUpdate()
{
	FootButtonUp = HAL_GPIO_ReadPin(SYSTEM_HARDWARE_PARKING_LEG_UP_PORT, SYSTEM_HARDWARE_PARKING_LEG_UP_PIN);
	FootButtonDown = HAL_GPIO_ReadPin(SYSTEM_HARDWARE_PARKING_LEG_DOWN_PORT, SYSTEM_HARDWARE_PARKING_LEG_DOWN_PIN);
}
float Interpolation(float Value, float Min, float Max)
{
    float Result = (Value - Min) / (Max - Min);
    if (Result > 1)
    {
        return 1;
    }
    if (Result < 0)
    {
        return 0;
    }
    return Result;
}
void ADCInit()
{
	uint16_t Raw[SYSTEM_HARDWARE_ADC_Channel_Count];
	uint16_t Sensors[SYSTEM_HARDWARE_ADC_Channel_Count - 3];
	float Amperage[SYSTEM_HARDWARE_ADC_Channel_Count - 5];
	AdcModule.Raw = Raw;
	AdcModule.Sensors = Sensors;
	AdcModule.Amperage = Amperage;
}
void ADCUpdate()
{
	for (int i = 0; i < SYSTEM_HARDWARE_ADC_Channel_Count; i++)
	{
		AdcModule.Raw[i] = ReadAdcChanel(i);
	}
#ifndef DEBUG_NO_ADC_ALL
#ifndef DEBUG_NO_ADC_RAW
	DebugADCRawFL = AdcModule.Raw[0];
	DebugADCRawFR = AdcModule.Raw[1];
	DebugADCRawBL = AdcModule.Raw[2];
	DebugADCRawBR = AdcModule.Raw[3];
	DebugADCRawCN = AdcModule.Raw[4];
	DebugADCRaw36 = AdcModule.Raw[5];
	DebugADCRaw12 = AdcModule.Raw[6];
	DebugADCRaw5 = AdcModule.Raw[7];
#endif
#endif
}
void ADCPrepare()
{
	for (int i = 0; i < SYSTEM_HARDWARE_ADC_Channel_Count - 3; i++) // Sensor
	{
		AdcModule.Sensors[i] = AdcModule.Raw[i] * 1; // No conversion
	}
	for (int i = SYSTEM_HARDWARE_ADC_Channel_Count - 3; i < SYSTEM_HARDWARE_ADC_Channel_Count - 2; i++) // Current 30A
	{
		AdcModule.Amperage[i - (SYSTEM_HARDWARE_ADC_Channel_Count - 3)] = (AdcModule.Raw[i] * 3.3 / 4095) * 0.066;
	}
	for (int i = SYSTEM_HARDWARE_ADC_Channel_Count - 2; i < SYSTEM_HARDWARE_ADC_Channel_Count; i++) // Current 20A
	{
		AdcModule.Amperage[i - (SYSTEM_HARDWARE_ADC_Channel_Count - 2)] = (AdcModule.Raw[i] * 3.3 / 4095) * 0.1;
	}
}
uint16_t ReadAdcChanel(uint8_t Channel)
{
	ADC_ChannelConfTypeDef sConfig = {0};

	uint16_t RetVal;

	switch(Channel)
	{
	case 0:
		sConfig.Channel = SYSTEM_HARDWARE_ADC_IK_FL;
		break;
	case 1:
		sConfig.Channel = SYSTEM_HARDWARE_ADC_IK_FR;
		break;
	case 2:
		sConfig.Channel = SYSTEM_HARDWARE_ADC_IK_BL;
		break;
	case 3:
		sConfig.Channel = SYSTEM_HARDWARE_ADC_IK_BR;
		break;
	case 4:
		sConfig.Channel = SYSTEM_HARDWARE_ADC_IK_CN;
		break;
	case 5:
		sConfig.Channel = SYSTEM_HARDWARE_ADC_AMP_36;
		break;
	case 6:
		sConfig.Channel = SYSTEM_HARDWARE_ADC_AMP_12;
		break;
	case 7:
		sConfig.Channel = SYSTEM_HARDWARE_ADC_AMP_5;
		break;
	}

	sConfig.Rank = 1;
	sConfig.SamplingTime = ADC_SAMPLETIME_3CYCLES;
	if (HAL_ADC_ConfigChannel(SYSTEM_HARDWARE_ADC, &sConfig) != HAL_OK)
	{
		Error_Handler();
	}
	HAL_ADC_Start(SYSTEM_HARDWARE_ADC);
	HAL_ADC_PollForConversion(SYSTEM_HARDWARE_ADC, 1000);
	RetVal = HAL_ADC_GetValue(SYSTEM_HARDWARE_ADC);
	HAL_ADC_Stop(SYSTEM_HARDWARE_ADC);
	return RetVal;
}
void SerialLowControlLoop()
{
	SerialControlWheelsRequest.ControlMode = 0;
	SerialControlWheelsRequest.ParameterNumber = 0;
	//SerialControlWheelsRequest.WheelLeft = BTControl.Front;
	//SerialControlWheelsRequest.WheelRight = BTControl.Turn;
	SerialControlWheelsRequest.CR=13;
	SerialControlWheelsRequest.LF=10;
	HAL_UART_Transmit_DMA(SYSTEM_HARDWARE_UART_LOW, (uint8_t*)SerialControlWheelsRequest.Buffer, WHEELS_REQUEST_SIZE);
}
void ImuAccelUpdate()
{
	axises NewData;
	icm20948_accel_read(&NewData);

	ResAccel.x += roundf((((NewData.x / 16384) - ResAccel.x) * DebugFilterAcc) * DebugScallerAcc) / DebugScallerAcc;
	ResAccel.y += roundf((((NewData.y / 16384) - ResAccel.y) * DebugFilterAcc) * DebugScallerAcc) / DebugScallerAcc;
	ResAccel.z += roundf((((NewData.z / 16384) - ResAccel.z) * DebugFilterAcc) * DebugScallerAcc) / DebugScallerAcc;

	DebugAccRaw.x = NewData.x / 16384;
	DebugAccRaw.y = NewData.y / 16384;
	DebugAccRaw.z = NewData.z / 16384;

}
void ImuGyroUpdate()
{
	axises NewData;
	icm20948_gyro_read(&NewData);

	ResGyro.x += roundf((((NewData.x / 16.4) - ResGyro.x) * DebugFilterGyro) * DebugScallerGyro) / DebugScallerGyro;
	ResGyro.y += roundf((((NewData.y / 16.4) - ResGyro.y) * DebugFilterGyro) * DebugScallerGyro) / DebugScallerGyro;
	ResGyro.z += roundf((((NewData.z / 16.4) - ResGyro.z) * DebugFilterGyro) * DebugScallerGyro) / DebugScallerGyro;

	DebugGyroRaw.x = NewData.x / 16.4;
	DebugGyroRaw.y = NewData.y / 16.4;
	DebugGyroRaw.z = NewData.z / 16.4;
}
void ImuMagUpdate()
{
	axises NewData;
	ak09916_mag_read(&NewData);

	ResMag.x += roundf((((NewData.x * 0.15) - ResMag.x) * SYSTEM_IMU_MAG_FILTER) * 100) / 100;
	ResMag.y += roundf((((NewData.y * 0.15) - ResMag.y) * SYSTEM_IMU_MAG_FILTER) * 100) / 100;
	ResMag.z += roundf((((NewData.z * 0.15) - ResMag.z) * SYSTEM_IMU_MAG_FILTER) * 100) / 100;
}
void ImuInit()
{
	gyroscopeSensitivity.axis.x = 1.0f;
	gyroscopeSensitivity.axis.y = 1.0f;
	gyroscopeSensitivity.axis.z = 1.0f;

	accelerometerSensitivity.axis.x = 1.0f;
	accelerometerSensitivity.axis.y = 1.0f;
	accelerometerSensitivity.axis.z = 1.0f;

	hardIronBias.axis.x = 0.0f;
	hardIronBias.axis.y = 0.0f;
	hardIronBias.axis.z = 0.0f;

	FusionBiasInitialise(&fusionBias, 0.4f, samplePeriod);
	FusionAhrsInitialise(&fusionAhrs, 0.6f);
}
void ImuUpdate()
{
	uncalibratedGyroscope.axis.x = ResGyro.x;
	uncalibratedGyroscope.axis.y = ResGyro.y;
	uncalibratedGyroscope.axis.z = ResGyro.z;

	uncalibratedAccelerometer.axis.x = ResAccel.x;
	uncalibratedAccelerometer.axis.y = ResAccel.y;
	uncalibratedAccelerometer.axis.z = ResAccel.z;

	FusionVector3 calibratedGyroscope = FusionCalibrationInertial(uncalibratedGyroscope, FUSION_ROTATION_MATRIX_IDENTITY, gyroscopeSensitivity, FUSION_VECTOR3_ZERO);
	FusionVector3 calibratedAccelerometer = FusionCalibrationInertial(uncalibratedAccelerometer, FUSION_ROTATION_MATRIX_IDENTITY, accelerometerSensitivity, FUSION_VECTOR3_ZERO);

	calibratedGyroscope = FusionBiasUpdate(&fusionBias, calibratedGyroscope);
	FusionAhrsUpdateWithoutMagnetometer(&fusionAhrs, calibratedGyroscope, calibratedAccelerometer, samplePeriod);
	eulerAngles = FusionQuaternionToEulerAngles(FusionAhrsGetQuaternion(&fusionAhrs));

	eulerAngles.angle.pitch = roundf(eulerAngles.angle.pitch * 1000) / 1000;
	eulerAngles.angle.roll = roundf(eulerAngles.angle.roll * 1000) / 1000;
	eulerAngles.angle.yaw = roundf(eulerAngles.angle.yaw * 1000) / 1000;
}
void StepControl(uint8_t dir, uint32_t period, uint32_t steps)
{
	HAL_GPIO_WritePin(SYSTEM_HARDWARE_STEPPER_MOTOR_EN_PORT, SYSTEM_HARDWARE_STEPPER_MOTOR_EN_PIN, 1);
	for(int i = 0; i <= steps; i++)
	{
		HAL_GPIO_WritePin(SYSTEM_HARDWARE_STEPPER_MOTOR_DIR_PORT, SYSTEM_HARDWARE_STEPPER_MOTOR_DIR_PIN, dir);
		HAL_GPIO_WritePin(SYSTEM_HARDWARE_STEPPER_MOTOR_STEP_PORT, SYSTEM_HARDWARE_STEPPER_MOTOR_STEP_PIN, i);
		//HAL_Delay(1);
		DelayUs(1);
		HAL_GPIO_WritePin(SYSTEM_HARDWARE_STEPPER_MOTOR_STEP_PORT, SYSTEM_HARDWARE_STEPPER_MOTOR_STEP_PIN, 0);
		//HAL_Delay(period);
		DelayUs(1000);
	}
	HAL_GPIO_WritePin(SYSTEM_HARDWARE_STEPPER_MOTOR_EN_PORT, SYSTEM_HARDWARE_STEPPER_MOTOR_EN_PIN, 0);
}
void MotopStop()
{
	HAL_GPIO_WritePin(SYSTEM_HARDWARE_STEPPER_MOTOR_STEP_PORT, SYSTEM_HARDWARE_STEPPER_MOTOR_STEP_PIN, 0);
	HAL_GPIO_WritePin(SYSTEM_HARDWARE_STEPPER_MOTOR_EN_PORT, SYSTEM_HARDWARE_STEPPER_MOTOR_EN_PIN, 0);
}
void BalancePrepare()
{
	Front = BTControl.Front;
	Turn = BTControl.Turn;

	if(LowDiagnostic.Battery)
	{
		Front = 0;
		Turn = 0;
	}

	if ((fabsf(Front) < 0.001) && (fabsf(Turn) < 0.001) && (fabsf(SpeedLinear) < 0.02) && (fabsf(LeftSpeed - RightSpeed) < 0.02))
	{
		if ((LowDiagnostic.Battery < 4) && BalanceActiveDemand)
		{
			BalanceActiveDemand = false;
		}
		else if (LowDiagnostic.Battery > 8)
		{
			BalanceActiveDemand = BTControl.Drive;
		}
		else if (!BTControl.Drive)
		{
			BalanceActiveDemand = false;
		}
	}

	Turn = (Turn > 90) ? 90 : Turn;
	Turn = (Turn < -90) ? -90 : Turn;
	Front = (Front > 2) ? 2 : Front;
	Front = (Front < -0.4) ? -0.4 : Front;

	if(!BalanceActiveDemand)
	{
		if(!FootButtonDown && !FootButtonUp)
		{
			StepControl(0, 1, 10);
			FootDone = false;
		} else if (FootButtonDown && !FootButtonUp)
		{
			MotopStop();
			FootDone = true;
		} else if (!FootButtonDown && FootButtonUp)
		{
			StepControl(0, 1, 10);
			FootDone = false;
		}
	} else if (BalanceActiveDemand)
	{
		if(!FootButtonDown && !FootButtonUp)
		{
			StepControl(1, 1, 10);
			FootDone = false;
		} else if (FootButtonDown && !FootButtonUp)
		{
			StepControl(1, 1, 10);
			FootDone = false;
		} else if (!FootButtonDown && FootButtonUp)
		{
			MotopStop();
			FootDone = true;
		}
	}

	if(FootDone)
	{
		BalanceActiveDemand = BTControl.Drive;
		BalanceActive = BTControl.Drive;
		//PositionLinearDemand = PositionLinear;
	}
	else
	{
		BalanceActiveDemand = false;
		BalanceActive = false;
		//PositionLinearDemand = PositionLinear;
	}
}
void BalanceCalculateSpeeds()
{
	TimeS = (HAL_GetTick() - StepsLeftPreviousTime) / 1000.0;
	if (TimeS > BALANCE_SPEED_STEPS_MAX_TIME)
	{
		TimeS = BALANCE_SPEED_STEPS_MAX_TIME;
		LeftSpeed = 0;
	}
	if (WheelsHall[0].OutputHall != StepsLeftPrevious)
	{
		LeftSpeed = ((WheelsHall[0].OutputHall - StepsLeftPrevious) * BALANCE_STEPS_TO_METERS) / TimeS;
		StepsLeftPrevious = WheelsHall[0].OutputHall;
		StepsLeftPreviousTime = HAL_GetTick();
	}

	TimeS = (HAL_GetTick() - StepsRightPreviousTime) / 1000.0;
	if (TimeS > BALANCE_SPEED_STEPS_MAX_TIME)
	{
		TimeS = BALANCE_SPEED_STEPS_MAX_TIME;
		RightSpeed = 0;
	}
	if (WheelsHall[1].OutputHall != StepsRightPrevious)
	{
		RightSpeed = ((WheelsHall[1].OutputHall - StepsRightPrevious) * BALANCE_STEPS_TO_METERS) / TimeS;
		StepsRightPrevious = WheelsHall[1].OutputHall;
		StepsRightPreviousTime = HAL_GetTick();
	}

	PositionLinear = ((WheelsHall[0].OutputHall + WheelsHall[1].OutputHall) / 2) * BALANCE_STEPS_TO_METERS;
	SpeedLinear = (LeftSpeed + RightSpeed) / 2.0;
}
void BalancePositionLinearControl()
{
	if (fabsf(Front) > 0.001)
	{
		PositionLinearControlSwitch = 0;
	}
	else if (fabsf(SpeedLinear) < 0.02)
	{
		PositionLinearControlSwitch = 1;
	}

	if (BalanceActive)
	{
		float Error = PositionLinearDemand - PositionLinear;
		if (Error > 0)
		{
			PositionIValue += PositionI;
		}
		else
		{
			PositionIValue -= PositionI;
		}

		PositionPID = Error * PositionP + PositionIValue;
		if (PositionLinearControlSwitch)
		{
			SpeedLinearDemand = PositionPID;
		}
		else
		{
			SpeedLinearDemand = Front;
			PositionLinearDemand = PositionLinear;
			PositionIValue = 0;
		}
	}
	else
	{
		PositionLinearDemand = PositionLinear;
		PositionIValue = 0;
	}
}
void BalanceSpeedLinearControl()
{
	float deltaTime = (HAL_GetTick() - linearTime) / 1000000.0;
	linearTime = HAL_GetTick();

	if (deltaTime < 0)
	{
		deltaTime = linearDeltaTimePrev;
	}
	linearDeltaTimePrev = deltaTime;

	SpeedLinearDemand = SpeedLinearDemand > BALANCE_PLATFORM_Y_MAX ? BALANCE_PLATFORM_Y_MAX : SpeedLinearDemand;
	SpeedLinearDemand = SpeedLinearDemand < -BALANCE_PLATFORM_Y_MAX ? -BALANCE_PLATFORM_Y_MAX : SpeedLinearDemand;

	if (BalanceActive)
	{
		float linearError = SpeedLinearDemand - SpeedLinear;

		if ((SpeedLinearDemand * linearIntegral > 0) && (abs(SpeedLinear) > abs(SpeedLinearDemand * 1.5)))
		{
			linearIntegralerrorCoun++;
		}
		else
		{
			linearIntegralerrorCoun = 0;
		}
		float diff = (linearError - linearLastError) / deltaTime;
		linearLastError = linearError;
		float RC = 1.0f / linearFcutDiff;
		float kExp = deltaTime / (RC + deltaTime);
		linearSmoothDiff = (1.0f - kExp) * linearSmoothDiff + kExp * diff;

		linearIntegral += linearError * deltaTime;
		if ((SpeedLinearDemand < minLinearValue) && (SpeedLinearDemand > -minLinearValue))
		{
			linearIntegral = 0;
		}

		if (linearIntegralerrorCoun > 3)
		{
			linearIntegral = 0;
		}
		SpeedPID = linearError * SpeedPNew + linearIntegral * SpeedINew + linearSmoothDiff * SpeedDNew;

		PlatformYDemand += ((SpeedPID / 1.0) - PlatformYDemand) * SpeedFilter;

		PlatformYDemand = (PlatformYDemand > BALANCE_PLATFORM_Y_MAX) ? BALANCE_PLATFORM_Y_MAX : PlatformYDemand;
		PlatformYDemand = (PlatformYDemand < -BALANCE_PLATFORM_Y_MAX) ? -BALANCE_PLATFORM_Y_MAX : PlatformYDemand;
	}
	else
	{
		SpeedLinearDemand = 0;
		linearIntegral = 0;
	}
}
void BalancePositionAngularControl()
{
	GyroZSpeed = eulerAngles.angle.yaw - GyroZPrevious;
	GyroZPrevious = eulerAngles.angle.yaw;
	if (BalanceActive)
	{
		PositionAngularDemand -= Turn / 100.0;

		RotationPID = (eulerAngles.angle.yaw - PositionAngularDemand) * RotationP + GyroZSpeed * RotationD;
		DutyTurn = RotationPID;
	}
	else
	{
		PositionAngularDemand = eulerAngles.angle.yaw;
		DutyTurn = 0;
	}
	DutyTurn = (DutyTurn > BALANCE_DUTY_MAX_ANGULAR) ? BALANCE_DUTY_MAX_ANGULAR : DutyTurn;
	DutyTurn = (DutyTurn < -BALANCE_DUTY_MAX_ANGULAR) ? -BALANCE_DUTY_MAX_ANGULAR : DutyTurn;
}
void BalanceLoop()
{
	GyroY = eulerAngles.angle.pitch + PlatformYDemand + AngleCorrection;

	GyroYSpeed = GyroY - GyroYPrevious;
	GyroYPrevious = GyroY;

	if (BalanceActive)
	{
		BalancePID = -GyroY * (float)BalanceP - GyroYSpeed * (float)BalanceD;

		DutyFront += BalancePID * 0.000001;

		DutyFront = (DutyFront > BALANCE_DUTY_MAX_LINEAR) ? BALANCE_DUTY_MAX_LINEAR : DutyFront;
		DutyFront = (DutyFront < -BALANCE_DUTY_MAX_LINEAR) ? -BALANCE_DUTY_MAX_LINEAR : DutyFront;
	}
	else
	{
		PlatformYDemand = 0;
		DutyFront = 0;
	}
}
void BalanceResultLoop()
{
	ResultLeft += ((DutyFront + DutyTurn) - ResultLeft) * BalanceFilter;
	ResultRight += ((DutyFront - DutyTurn) - ResultRight) * BalanceFilter;

	SerialControlWheelsRequest.WheelLeft = ResultLeft;
	SerialControlWheelsRequest.WheelRight = ResultRight;

	SerialControlWheelsRequest.WheelLeft += (RotationI * (BTControl.Front));
	SerialControlWheelsRequest.WheelRight += (RotationI * (BTControl.Front));
	SerialControlWheelsRequest.WheelLeft += ManualDrive;
	SerialControlWheelsRequest.WheelRight += ManualDrive;

	if (eulerAngles.angle.pitch + AngleCorrection > 20)
	{
		SerialControlWheelsRequest.WheelLeft = 0;
		SerialControlWheelsRequest.WheelRight = 0;
	}
}
void DelayUs(uint16_t us)
{
	__HAL_TIM_SET_COUNTER(&htim8, 0);
	while (__HAL_TIM_GET_COUNTER(&htim8) < us);
}

//------FLUPDATE
uint8_t Fl_Update = 0;
//------MODE ANIMATIO
uint8_t Mode = 0;
//------POSITION LED
int8_t Pos = 0;
//------FLAG UP/DOWN FOR ANIMATION1
uint8_t Fl_Top = 0;
//-------FL USER BTN;
uint8_t FL_BTN = 0;
uint8_t Count_BTN=0;
//-----Animation2
uint8_t BRIGHTNESS=0;
uint8_t FL_BRIGHTNESS=0;
// color for brightness
uint8_t ColorRed=0;
uint8_t ColorGreen=0;
uint8_t ColorBlue=0;

//-----Animation3
uint8_t Pos1=0;
uint8_t Pos2=LED_COUNT-1;
uint8_t Fl_Top1 = 0;
uint8_t Fl_Top2 = 1;
void WS2812_PIXEL_RGB_TO_BUF_DMA(uint8_t Rpixel , uint8_t Gpixel, uint8_t Bpixel, uint16_t posX){
  for(uint8_t i=0;i<8;i++){
    if (BitIsSet(Rpixel,(7-i)) == 1){
      BUF_DMA[DELAY_LEN+posX*24+i+8] = HIGH;
    }else{
      BUF_DMA[DELAY_LEN+posX*24+i+8] = LOW;
    }
    if (BitIsSet(Gpixel,(7-i)) == 1){
      BUF_DMA[DELAY_LEN+posX*24+i+0] = HIGH;
    }else{
      BUF_DMA[DELAY_LEN+posX*24+i+0] = LOW;
    }
    if (BitIsSet(Bpixel,(7-i)) == 1){
      BUF_DMA[DELAY_LEN+posX*24+i+16] = HIGH;
    }else{
      BUF_DMA[DELAY_LEN+posX*24+i+16] = LOW;
    }
  }
}
void WS2812_LIGHT(void){
	HAL_TIM_PWM_Start_DMA(&htim1, TIM_CHANNEL_1, (uint32_t*)&BUF_DMA, ARRAY_LEN);
	HAL_TIM_PWM_Start_DMA(&htim1, TIM_CHANNEL_2, (uint32_t*)&BUF_DMA, ARRAY_LEN);
	HAL_TIM_PWM_Start_DMA(&htim1, TIM_CHANNEL_3, (uint32_t*)&BUF_DMA, ARRAY_LEN);
	HAL_TIM_PWM_Start_DMA(&htim4, TIM_CHANNEL_2, (uint32_t*)&BUF_DMA, ARRAY_LEN);
}
void WS2812_CLEAR(void){
	for (uint8_t i = 0; i < LED_COUNT; ++i){WS2812_PIXEL_RGB_TO_BUF_DMA(0, 0, 0, i);}
}
void WS2812_Init(uint8_t LedNumber){
	for (uint16_t i = DELAY_LEN; i < ARRAY_LEN; i++)BUF_DMA[i] = LOW;
	WS2812_CLEAR();
	WS2812_LIGHT();
	HAL_Delay(1);
}
//-------------Three LED up and down
void WS2812_ANIMATION_1(void){
	WS2812_CLEAR();
	WS2812_PIXEL_RGB_TO_BUF_DMA(MAX_LIGHT, 0, 0, Pos);
    if(Pos<(LED_COUNT-1)){WS2812_PIXEL_RGB_TO_BUF_DMA(0, 0, MAX_LIGHT, Pos+1);}
    if(Pos<(LED_COUNT-2)){WS2812_PIXEL_RGB_TO_BUF_DMA(0, MAX_LIGHT, 0, Pos+2);}
	WS2812_LIGHT();
	if(Fl_Top==0){
		Pos++;
		if(Pos==LED_COUNT-2){Fl_Top=1;Pos=LED_COUNT-4;}
	}else if (Fl_Top==1) {
		Pos--;
		if(Pos==0){Fl_Top=0;Pos=0;}
	}
}
void WS2812_ANIMATION_2(void) {
	for (uint8_t i = 0; i < LED_COUNT; i++) {
		WS2812_PIXEL_RGB_TO_BUF_DMA(ColorRed * BRIGHTNESS / 100,	ColorGreen * BRIGHTNESS / 100, ColorBlue * BRIGHTNESS / 100, i);
	}
	WS2812_LIGHT();
	if (FL_BRIGHTNESS == 0) {
		BRIGHTNESS++;
	if(BRIGHTNESS == MAX_BRIGHTNESS) {
		FL_BRIGHTNESS=1;
		BRIGHTNESS=MAX_BRIGHTNESS;
	}
} else if (FL_BRIGHTNESS == 1) {
	BRIGHTNESS--;
	if (BRIGHTNESS == 0) {
		FL_BRIGHTNESS = 0;
		BRIGHTNESS = 0;
		ColorRed = rand()%255;
		ColorGreen = rand()%255;
		ColorBlue = rand()%255;
	}
}
}

void WS2812_UPDATE(void){
	if (FL_BTN==1) {
		FL_BTN=0;
		Mode++;
		if(Mode>2)Mode=0;
		Pos = 0;
		Fl_Top = 0;
		BRIGHTNESS=0;
		FL_BRIGHTNESS=0;
		ColorRed=128;
		ColorGreen=70;
		ColorBlue=30;
		Pos1=0;
		Pos2=LED_COUNT-1;
		Fl_Top1 = 0;
		Fl_Top2 = 1;
	}
	switch (Mode) {
	case 0:
		WS2812_ANIMATION_1();
		break;
	case 1:
		WS2812_ANIMATION_2();
		break;
	}
	Fl_Update = 0;
}

/* USER CODE END 0 */

int main(void)
{

  /* MCU Configuration--------------------------------------------------------*/

  /* Reset of all peripherals, Initializes the Flash interface and the Systick. */
  HAL_Init();

  /* Configure the system clock */
  SystemClock_Config();

  /* Initialize all configured peripherals */
  MX_GPIO_Init();
  MX_DMA_Init();
  MX_USART2_UART_Init();
  MX_SPI2_Init();
  MX_USART3_UART_Init();
  MX_TIM1_Init();
  MX_TIM4_Init();
  MX_ADC1_Init();
  MX_TIM8_Init();
  /* USER CODE BEGIN 2 */
#ifndef SYSTEM_NO_ADC_INIT
  ADCInit();
#endif
#ifndef SYSTEM_NO_IMU_HW_INIT
  icm20948_init();
  ak09916_init();
#endif
#ifndef SYSTEM_NO_IMU_INIT
  ImuInit();
#endif

#ifndef SYSTEM_NO_LED_INIT
  WS2812_Init(0);
  WS2812_Init(1);
  WS2812_Init(2);
  WS2812_Init(3);
  ColorRed = rand() % 255;
  ColorGreen = rand() % 255;
  ColorBlue = rand() % 255;
#endif
  HAL_TIM_Base_Start(&htim8);
  /* USER CODE END 2 */

  /* Infinite loop */
  /* USER CODE BEGIN WHILE */
  while (1)
  {
#ifndef SYSTEM_NO_LOW_UART_LOOP
	  if (HAL_GetTick() - LastPkgTimeUartLow > SYSTEM_TIMING_MS_UART_LOW)
	  {
		  MX_USART2_UART_Init();
		  UartLowReceiveState = 0;
		  HAL_UART_Receive_DMA(SYSTEM_HARDWARE_UART_LOW, (uint8_t*)SerialControlWheelsResponce.Buffer, WHEELS_RESPONCE_SIZE);
		  LastPkgTimeUartLow = HAL_GetTick();
	  }
#endif
#ifndef SYSTEM_NO_HIGH_UART_LOOP
	  if (HAL_GetTick() - LastPkgTimeUartHigh > SYSTEM_TIMING_MS_UART_HIGH)
	  {
		  MX_USART3_UART_Init();
		  UartHighReceiveState = 0;
		  HAL_UART_Receive_DMA(SYSTEM_HARDWARE_UART_HIGH, (uint8_t*)SerialHighLevelRequest.Buffer, HIGH_LEVEL_REQUEST_SIZE);
		  LastPkgTimeUartHigh = HAL_GetTick();
	  }
#endif
#ifndef SYSTEM_NO_LOW_UART_LOOP
	  if ((UartLowReceiveState == 10) && (SerialControlWheelsResponce.CR == 13) && (SerialControlWheelsResponce.LF == 10))
	  {
		  HAL_GPIO_TogglePin(GPIOD, GPIO_PIN_12);
		  UartLowReceiveState = 0;
		  int32_t TemplateWheels[2] = { (SerialControlWheelsResponce.WheelLeftSteps * -1), (SerialControlWheelsResponce.WheelRightSteps * -1) };
		  UartLowPrepareRaw(SYSTEM_HALL_FILTER_MAX, TemplateWheels, 2);
		  LastPkgTimeUartLow = HAL_GetTick();
	  }
#endif
#ifndef SYSTEM_NO_GPIO_LOOP
	  if (HAL_GetTick() - LastUpdateGPIO > SYSTEM_TIMING_MS_GPIO)
	  {
		  GPIOUpdate();
		  LastUpdateGPIO = HAL_GetTick();
	  }
#endif
#ifndef SYSTEM_NO_ADC_INIT
#ifndef SYSTEM_NO_ADC_LOOP
	  if (HAL_GetTick() - LastUpdateADC > SYSTEM_TIMING_MS_ADC)
	  {
		  ADCUpdate();
		  ADCPrepare();
		  LastUpdateADC = HAL_GetTick();
	  }
#endif
#endif

	  if(HAL_GetTick() - LastUpdateIMU > SYSTEM_TIMING_MS_IMU)
	  {
		  ImuAccelUpdate();
		  ImuGyroUpdate();
		  ImuMagUpdate();
		  ImuUpdate();
		  LastUpdateIMU = HAL_GetTick();
	  }

#ifndef SYSTEM_NO_HIGH_UART_LOOP
	  if ((UartHighReceiveState == 10) && (SerialHighLevelRequest.CR == 13) && (SerialHighLevelRequest.LF == 10))
	  {
		  HAL_GPIO_TogglePin(GPIOD, GPIO_PIN_13);

		  BTControl.Front = SerialHighLevelRequest.Linear;
		  BTControl.Turn = SerialHighLevelRequest.Angular;
		  BTControl.Drive = SerialHighLevelRequest.DriveMode;

		  UartHighReceiveState = 0;
		  SerialHighLevelResponce.ControllerState = -1;
		  SerialHighLevelResponce.WheelLeftSteps = WheelsHall[0].OutputHall;
		  SerialHighLevelResponce.WheelRightSteps = WheelsHall[1].OutputHall;
		  SerialHighLevelResponce.BatteryPersentage = LowDiagnostic.Battery;
		  SerialHighLevelResponce.Roll = eulerAngles.angle.roll;
		  SerialHighLevelResponce.Pitch = eulerAngles.angle.pitch;
		  SerialHighLevelResponce.Yaw = eulerAngles.angle.yaw;
		  SerialHighLevelResponce.CenterIkSensor = AdcModule.Sensors[4];
		  SerialHighLevelResponce.ParameterNumber = 0;
		  SerialHighLevelResponce.ParametrValue = 0;
		  SerialHighLevelResponce.CR = 13;
		  SerialHighLevelResponce.LF = 10;
 		  HAL_UART_Transmit_DMA(&huart3, (uint8_t*)SerialHighLevelResponce.Buffer, HIGH_LEVEL_RESPONCE_SIZE);
		  LastPkgTimeUartHigh = HAL_GetTick();
	  }
#endif

	  	  if (HAL_GetTick() - LastUpdateLed > 50)
	  	  {
	  		  WS2812_UPDATE();
	  		  LastUpdateLed = HAL_GetTick();
	  	  }

	  if (HAL_GetTick() - LastUpdateLogic > SYSTEM_TIMING_MS_LOGIC)
	  {
		  BalancePrepare();						// CMPLT
		  BalanceCalculateSpeeds();				// CMPLT
		  BalancePositionLinearControl();		//
		  //BalanceSpeedLinearControl();			//
		  //BalancePositionAngularControl();
		  //BalanceLoop();						//
		  //BalanceResultLoop();					//
		  LastUpdateLogic = HAL_GetTick();
	  }

#ifndef SYSTEM_NO_LOW_UART_LOOP
	  SerialLowControlLoop();
#endif
    /* USER CODE END WHILE */

  }
}

void SystemClock_Config(void)
{
  RCC_OscInitTypeDef RCC_OscInitStruct = {0};
  RCC_ClkInitTypeDef RCC_ClkInitStruct = {0};

  /** Configure the main internal regulator output voltage
  */
  __HAL_RCC_PWR_CLK_ENABLE();
  __HAL_PWR_VOLTAGESCALING_CONFIG(PWR_REGULATOR_VOLTAGE_SCALE1);
  /** Initializes the RCC Oscillators according to the specified parameters
  * in the RCC_OscInitTypeDef structure.
  */
  RCC_OscInitStruct.OscillatorType = RCC_OSCILLATORTYPE_HSE;
  RCC_OscInitStruct.HSEState = RCC_HSE_ON;
  RCC_OscInitStruct.PLL.PLLState = RCC_PLL_ON;
  RCC_OscInitStruct.PLL.PLLSource = RCC_PLLSOURCE_HSE;
  RCC_OscInitStruct.PLL.PLLM = 4;
  RCC_OscInitStruct.PLL.PLLN = 168;
  RCC_OscInitStruct.PLL.PLLP = RCC_PLLP_DIV2;
  RCC_OscInitStruct.PLL.PLLQ = 4;
  if (HAL_RCC_OscConfig(&RCC_OscInitStruct) != HAL_OK)
  {
    Error_Handler();
  }
  /** Initializes the CPU, AHB and APB buses clocks
  */
  RCC_ClkInitStruct.ClockType = RCC_CLOCKTYPE_HCLK|RCC_CLOCKTYPE_SYSCLK
                              |RCC_CLOCKTYPE_PCLK1|RCC_CLOCKTYPE_PCLK2;
  RCC_ClkInitStruct.SYSCLKSource = RCC_SYSCLKSOURCE_PLLCLK;
  RCC_ClkInitStruct.AHBCLKDivider = RCC_SYSCLK_DIV1;
  RCC_ClkInitStruct.APB1CLKDivider = RCC_HCLK_DIV4;
  RCC_ClkInitStruct.APB2CLKDivider = RCC_HCLK_DIV2;

  if (HAL_RCC_ClockConfig(&RCC_ClkInitStruct, FLASH_LATENCY_5) != HAL_OK)
  {
    Error_Handler();
  }
}

void Error_Handler(void)
{
  __disable_irq();
  while (1)
  {
  }
}

/************************ (C) COPYRIGHT STMicroelectronics *****END OF FILE****/
